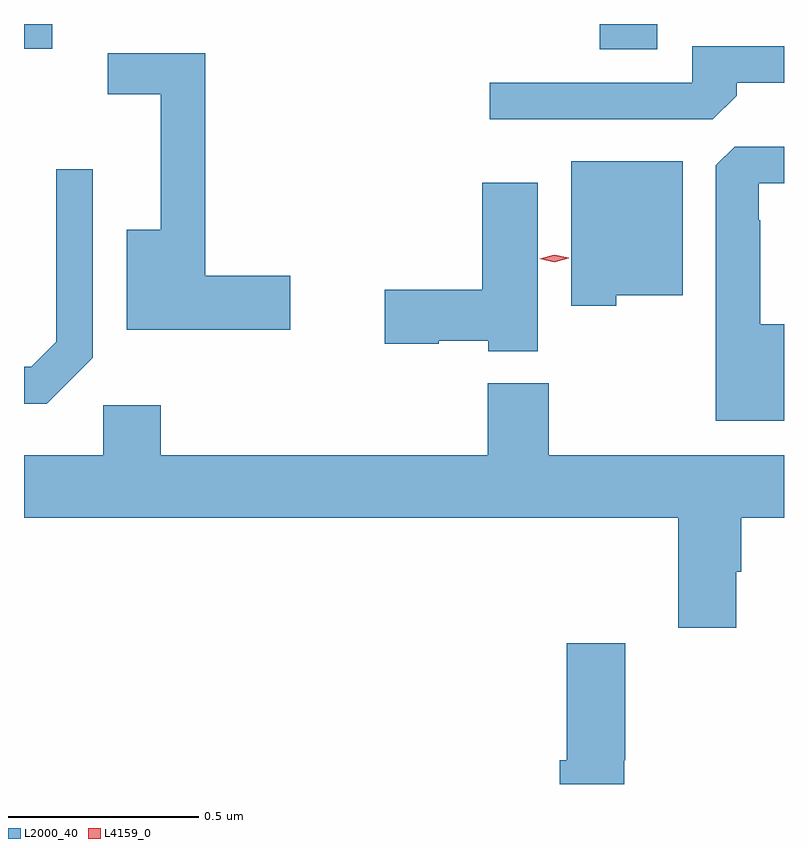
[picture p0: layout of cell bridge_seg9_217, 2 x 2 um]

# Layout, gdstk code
import gdstk
lib = gdstk.Library(unit=1e-6, precision=1e-09)
def R(c, l, rs):  # rectangles x0, y0, x1, y1
    for r in rs: c.add(gdstk.rectangle(r[:2], r[2:], *l))
def P(c, l, *ps):  # polygons
    for p in ps: c.add(gdstk.Polygon(p, *l))
L2000_40 = (2000, 40)
L4159_0 = (4159, 0)

bridge_seg9_217 = lib.new_cell('bridge_seg9_217')
R(bridge_seg9_217, L2000_40, [(193.187,1208.309,193.339,1208.375), (191.672,1208.31,191.746,1208.375)])
P(bridge_seg9_217, L2000_40, [(193.547,1208.186),(193.547,1208.22),(193.672,1208.22),(193.672,1208.316),(193.431,1208.316),(193.431,1208.22),(192.897,1208.22),(192.897,1208.124),(193.485,1208.124)],
  [(192.373,1207.712),(192.149,1207.712),(192.149,1208.298),(191.892,1208.298),(191.892,1208.19),(192.032,1208.19),(192.032,1207.834),(191.942,1207.834),(191.942,1207.57),(192.373,1207.57)],
  [(193.672,1207.585),(193.609,1207.585),(193.609,1207.859),(193.605,1207.859),(193.605,1207.956),(193.672,1207.956),(193.672,1208.052),(193.542,1208.052),(193.493,1208.003),(193.493,1207.331),(193.672,1207.331)],
  [(193.23,1207.661),(193.405,1207.661),(193.405,1208.014),(193.112,1208.014),(193.112,1207.634),(193.23,1207.634)],
  [(191.853,1207.497),(191.853,1207.993),(191.757,1207.993),(191.757,1207.539),(191.691,1207.473),(191.672,1207.473),(191.672,1207.376),(191.732,1207.376)],
  [(193.024,1207.957),(192.878,1207.957),(192.878,1207.676),(192.621,1207.676),(192.621,1207.534),(192.764,1207.534),(192.764,1207.541),(192.894,1207.541),(192.894,1207.514),(193.024,1207.514)],
  [(193.546,1206.934),(193.559,1206.934),(193.559,1207.076),(193.672,1207.076),(193.672,1207.24),(193.053,1207.24),(193.053,1207.429),(192.893,1207.429),(192.893,1207.24),(192.032,1207.24),(192.032,1207.372),(191.88,1207.372),(191.88,1207.24),(191.672,1207.24),(191.672,1207.076),(193.394,1207.076),(193.394,1206.786),(193.546,1206.786)],
  [(193.252,1206.438),(193.254,1206.438),(193.254,1206.745),(193.1,1206.745),(193.1,1206.438),(193.082,1206.438),(193.082,1206.375),(193.252,1206.375)])
P(bridge_seg9_217, L4159_0, [(193.068,1207.748),(193.029,1207.757),(193.029,1207.757),(193.029,1207.757),(193.067,1207.768),(193.106,1207.76),(193.106,1207.759),(193.106,1207.759)])

lib.write_gds('bridge_seg9_217.gds')
